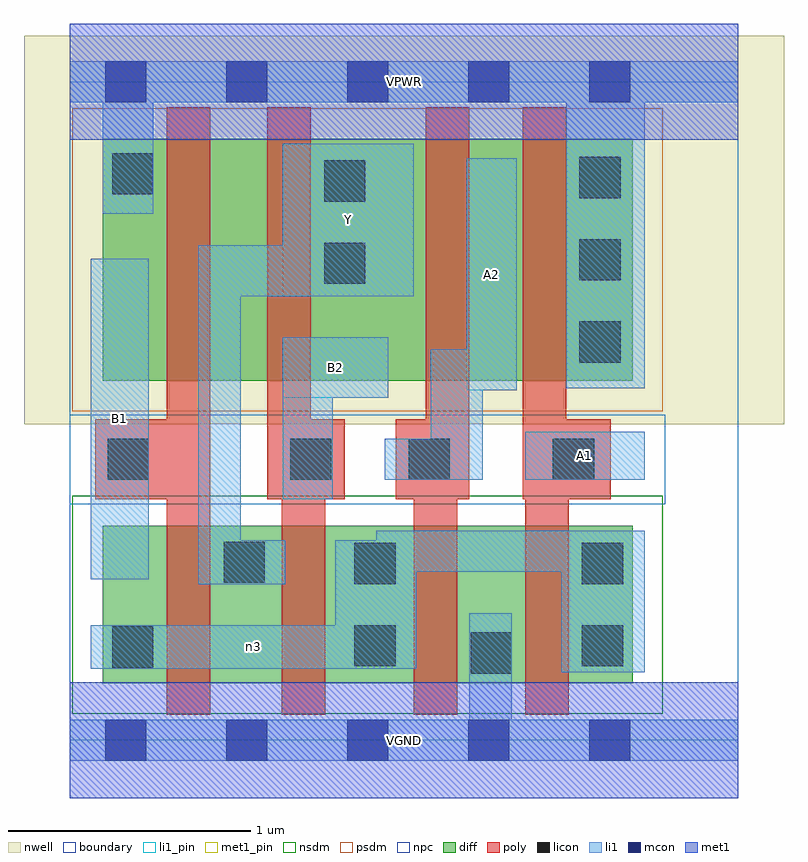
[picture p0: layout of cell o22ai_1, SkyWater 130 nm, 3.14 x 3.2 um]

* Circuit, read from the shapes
.subckt o22ai_1 A1 A2 B1 B2 VGND VPWR Y n3
XM1 Y B1 n3 VSUBS sky130_fd_pr__nfet_01v8 w=0.65 l=0.18
XM2 n3 B2 Y VSUBS sky130_fd_pr__nfet_01v8 w=0.65 l=0.18
XM3 VGND A2 n3 VSUBS sky130_fd_pr__nfet_01v8 w=0.65 l=0.18
XM4 n3 A1 VGND VSUBS sky130_fd_pr__nfet_01v8 w=0.65 l=0.18
XM5 n1 B1 VPWR n2 sky130_fd_pr__pfet_01v8 w=1 l=0.18
XM6 Y B2 n1 n2 sky130_fd_pr__pfet_01v8 w=1 l=0.18
XM7 n4 A2 Y n2 sky130_fd_pr__pfet_01v8 w=1 l=0.18
XM8 VPWR A1 n4 n2 sky130_fd_pr__pfet_01v8 w=1 l=0.18
.ends

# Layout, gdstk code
import gdstk
lib = gdstk.Library(unit=1e-6, precision=1e-09)
def R(c, l, rs):  # rectangles x0, y0, x1, y1
    for r in rs: c.add(gdstk.rectangle(r[:2], r[2:], *l))
def A(c, l, x, y, w, h, nx, ny, dx, dy):  # array of equal rectangles
    R(c, l, [(x+i*dx, y+j*dy, x+i*dx+w, y+j*dy+h) for i in range(nx) for j in range(ny)])
nwell = (64, 20)
diff = (65, 20)
poly = (66, 20)
licon = (66, 44)
li1_pin = (67, 16)
li1 = (67, 20)
mcon = (67, 44)
met1_pin = (68, 16)
met1 = (68, 20)
nsdm = (93, 44)
psdm = (94, 20)
npc = (95, 20)
boundary = (235, 4)

o22ai_1 = lib.new_cell('o22ai_1')
R(o22ai_1, nwell, [(-0.19,1.305,2.95,2.91), (0,1.305,2.76,2.91)])
R(o22ai_1, diff, [(0.135,0.235,2.325,0.885), (0.135,1.485,2.325,2.485)])
R(o22ai_1, poly, [(0.4,0.105,0.58,2.615), (0.875,0.105,1.055,1.325), (1.42,0.105,1.6,1.325), (1.88,0.105,2.06,1.325), (0.105,0.995,0.58,1.325), (0.815,0.995,0.995,2.615), (0.815,0.995,1.135,1.325), (1.345,0.995,1.65,1.325), (1.47,0.995,1.65,2.615), (1.87,0.995,2.05,2.615), (1.87,0.995,2.235,1.325)])
A(o22ai_1, licon, 2.105, 1.56, 0.17, 0.17, 1, 3, 0, 0.34)
R(o22ai_1, licon, [(1.655,0.275,1.825,0.445), (0.175,0.3,0.345,0.47), (1.175,0.305,1.345,0.475), (2.115,0.305,2.285,0.475), (1.175,0.645,1.345,0.815), (2.115,0.645,2.285,0.815), (0.635,0.65,0.805,0.82), (0.155,1.075,0.325,1.245), (0.91,1.075,1.08,1.245), (1.4,1.075,1.57,1.245), (1.995,1.075,2.165,1.245), (1.05,1.885,1.22,2.055), (1.05,2.225,1.22,2.395), (0.175,2.255,0.345,2.425)])
R(o22ai_1, li1_pin, [(0.085,0.665,0.325,1.99), (1.88,1.075,2.375,1.275), (0.88,1.415,1.315,1.665), (1.64,1.445,1.845,2.405), (0.88,1.835,1.42,2.465)])
R(o22ai_1, li1, [(0,-0.085,2.76,0.085), (1.65,-0.085,1.825,0.525), (2.03,0.28,2.375,0.865), (0.085,0.295,1.43,0.475), (1.095,0.295,1.43,0.825), (0.53,0.645,0.705,2.045), (0.53,0.645,0.89,0.825), (0.085,0.665,0.325,1.99), (1.265,0.695,2.375,0.865), (0.88,0.995,1.085,1.665), (1.3,1.075,1.705,1.245), (1.49,1.075,1.705,1.615), (1.88,1.075,2.375,1.275), (0.88,1.415,1.315,1.665), (1.64,1.445,1.845,2.405), (2.05,1.455,2.375,2.805), (0.53,1.835,1.42,2.045), (0.88,1.835,1.42,2.465), (0.135,2.175,0.345,2.805), (0,2.635,2.76,2.805)])
A(o22ai_1, mcon, 0.145, -0.085, 0.17, 0.17, 5, 2, 0.5, 2.72)
R(o22ai_1, met1_pin, [(0,-0.24,2.76,0.24), (0,2.48,2.76,2.96)])
R(o22ai_1, met1, [(0,-0.24,2.76,0.24), (0,2.48,2.76,2.96)])
R(o22ai_1, nsdm, [(0.01,0.11,2.45,1.01)])
R(o22ai_1, psdm, [(0.01,1.36,2.45,2.61)])
R(o22ai_1, npc, [(0,0.975,2.46,1.345)])
R(o22ai_1, boundary, [(0,0,2.76,2.72)])
o22ai_1.add(gdstk.Label('A1', (2.127,1.175), layer=67, texttype=5))
o22ai_1.add(gdstk.Label('A2', (1.742,1.925), layer=67, texttype=5))
o22ai_1.add(gdstk.Label('B1', (0.205,1.327), layer=67, texttype=5))
o22ai_1.add(gdstk.Label('B2', (1.097,1.54), layer=67, texttype=5))
o22ai_1.add(gdstk.Label('Y', (1.15,2.15), layer=67, texttype=5))
o22ai_1.add(gdstk.Label('n3', (0.757,0.385), layer=67, texttype=5))
o22ai_1.add(gdstk.Label('VPWR', (1.38,2.72), layer=68, texttype=5))
o22ai_1.add(gdstk.Label('VGND', (1.38,0), layer=68, texttype=5))
o22ai_1.add(gdstk.Label('A1', (2.127,1.175), layer=67, texttype=16))
o22ai_1.add(gdstk.Label('A2', (1.742,1.925), layer=67, texttype=16))
o22ai_1.add(gdstk.Label('B1', (0.205,1.327), layer=67, texttype=16))
o22ai_1.add(gdstk.Label('B2', (1.097,1.54), layer=67, texttype=16))
o22ai_1.add(gdstk.Label('Y', (1.15,2.15), layer=67, texttype=16))
o22ai_1.add(gdstk.Label('VPWR', (1.38,2.72), layer=68, texttype=16))
o22ai_1.add(gdstk.Label('VGND', (1.38,0), layer=68, texttype=16))

lib.write_gds('o22ai_1.gds')
